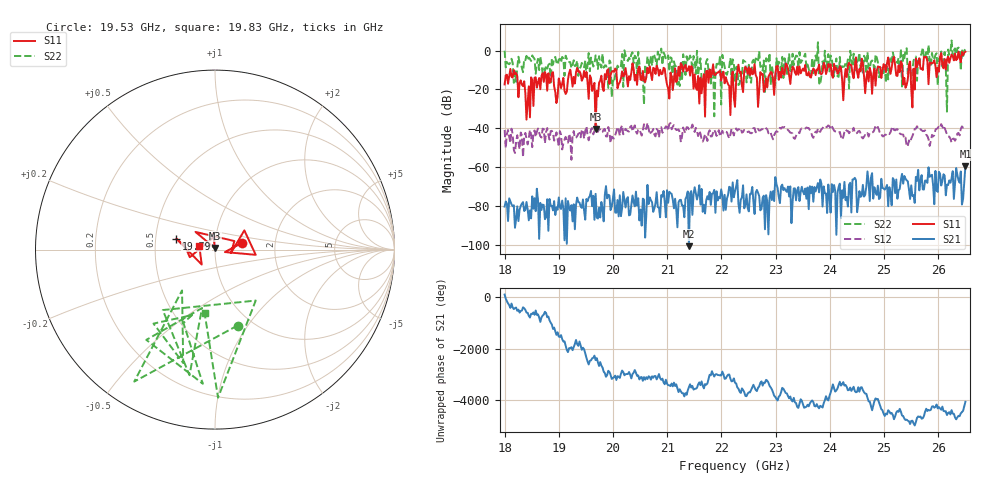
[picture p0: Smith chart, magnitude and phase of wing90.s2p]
!Keysight Technologies,N5242B,MY47200105,A.14.00.23
!Date: Friday, May 10, 2024 11:02:27
!Correction: S11(C  2-Port  )
!S21(C  2-Port  )
!S12(C  2-Port  )
!S22(C  2-Port  )
!S2P File: Measurement: :
# Hz S  RI  R 50
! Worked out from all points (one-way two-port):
!   401 points, 18 GHz to 26.5 GHz, reference 50 ohm
!   highest |S21| = -59.70 dB at 26.5 GHz (marker M1); lowest = -100.8 dB at 21.4 GHz (marker M2)
!   lowest |S11| = -40.4 dB at 19.68 GHz (marker M3), VSWR 1.02, Z = 49.8 + j0.935 ohm
!   |S11| at or under -10 dB: 18.11 GHz to 19.21 GHz (1.1 GHz wide, 5.9 % of centre); 19.35 GHz to 19.9 GHz (549.8 MHz wide, 2.8 % of centre); 21.86 GHz to 22.3 GHz (438.2 MHz wide, 1.99 % of centre) (the widest 3 of 61)
!   |S22| runs from -33.9 to 5.2 dB; largest |S21 - S12| = 0.014
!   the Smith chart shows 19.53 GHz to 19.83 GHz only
!   S11 on the Smith chart (normalised r, x): 19.53 GHz: 1.35, +0.10; 19.79 GHz: 0.64, +0.08; 19.83 GHz: 0.84, +0.04
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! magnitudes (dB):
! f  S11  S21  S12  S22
! 18 GHz  -17.5  -80.4  -40.9  -0.1
! 18.43 GHz  -27.2  -81.7  -48.4  -4.9
! 18.72 GHz  -16.2  -79.6  -40.5  -9.3
! 19.42 GHz  -15.6  -81.1  -40.8  -6.4
! 19.53 GHz  -16.3  -77.7  -43.5  -7.1
! 19.68 GHz  -40.4  -73.8  -37.6  -2.5
! 19.79 GHz  -13.0  -78.0  -42.1  -8.8
! 19.83 GHz  -20.8  -88.0  -40.7  -8.9
! 20.02 GHz  -11.0  -71.6  -45.3  -16.5
! 20.38 GHz  -9.4  -78.1  -39.9  -6.6
! 20.55 GHz  -10.5  -76.3  -41.1  -13.8
! 20.85 GHz  -12.9  -81.0  -44.9  -4.6
! 21.23 GHz  -13.1  -77.0  -41.9  -18.3
! 21.4 GHz  -8.1  -100.8  -40.5  -4.4
! 21.85 GHz  -7.1  -73.6  -42.2  -8.8
! 22.25 GHz  -29.0  -72.6  -41.1  -16.4
! 23.67 GHz  -11.0  -70.1  -44.1  -3.8
! 25.1 GHz  -8.3  -70.4  -43.1  -5.8
! 25.35 GHz  -17.5  -68.6  -43.3  -2.2
! 25.52 GHz  -29.3  -75.0  -44.0  -10.0
! 25.63 GHz  -5.9  -61.5  -39.6  -5.0
! 26.5 GHz  -0.7  -59.7  -40.8  0.7
